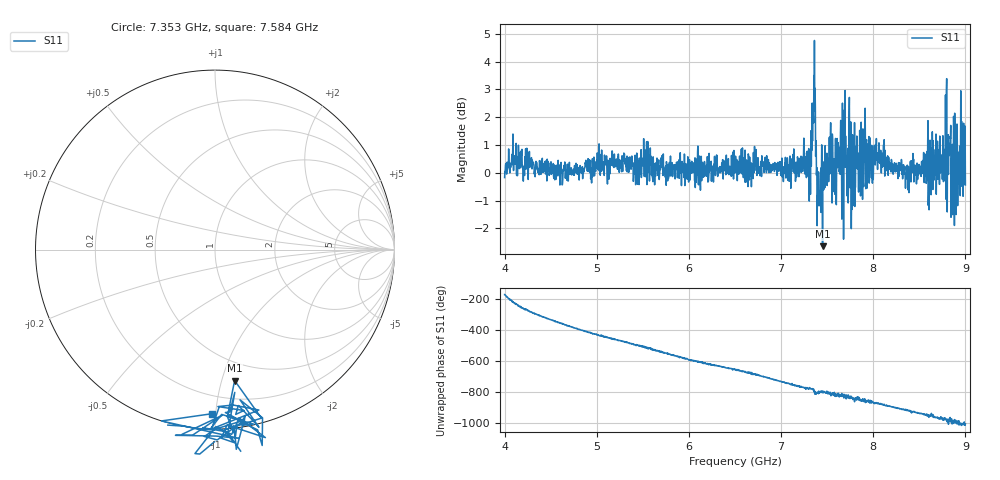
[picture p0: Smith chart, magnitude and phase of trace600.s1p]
! Created with skrf 1.8.0 (http://scikit-rf.org).
# Hz S RI R 50.0
!freq ReS11 ImS11
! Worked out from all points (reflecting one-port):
!   1601 points, 4 GHz to 9 GHz, reference 50 ohm
!   lowest |S11| = -2.6 dB at 7.45 GHz (marker M1), VSWR 6.62, Z = 17.2 - j55 ohm
!   phase of S11 starts at -173 deg and turns -833 deg over the sweep
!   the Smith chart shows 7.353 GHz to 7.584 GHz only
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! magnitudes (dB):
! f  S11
! 4 GHz  -0.2
! 4.1 GHz  0.4
! 4.625 GHz  -0.4
! 5.25 GHz  0.2
! 5.875 GHz  -0.2
! 6.5 GHz  0.3
! 7.125 GHz  0.5
! 7.294 GHz  -0.1
! 7.316 GHz  0.4
! 7.347 GHz  2.1
! 7.356 GHz  3.5
! 7.409 GHz  -0.7
! 7.45 GHz  -2.6
! 7.512 GHz  0.5
! 7.591 GHz  1.2
! 7.669 GHz  0.5
! 7.75 GHz  -0.5
! 7.784 GHz  0.6
! 7.834 GHz  0.4
! 8.038 GHz  0.5
! 8.375 GHz  0.1
! 8.634 GHz  0.8
! 8.725 GHz  0.3
! 8.816 GHz  -0.1
! 8.825 GHz  0.6
! 8.869 GHz  -0.2
! 8.972 GHz  1.2
! 9 GHz  -0.4
